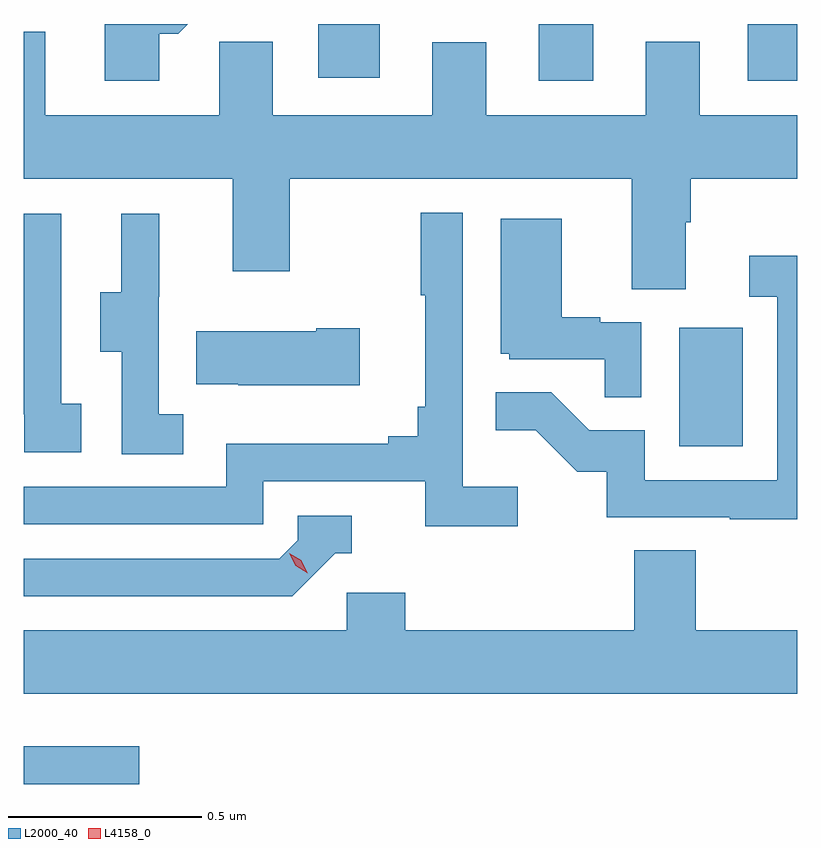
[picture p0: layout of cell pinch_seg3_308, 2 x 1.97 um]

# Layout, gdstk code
import gdstk
lib = gdstk.Library(unit=1e-6, precision=1e-09)
def R(c, l, rs):  # rectangles x0, y0, x1, y1
    for r in rs: c.add(gdstk.rectangle(r[:2], r[2:], *l))
def P(c, l, *ps):  # polygons
    for p in ps: c.add(gdstk.Polygon(p, *l))
L2000_40 = (2000, 40)
L4158_0 = (4158, 0)

pinch_seg3_308 = lib.new_cell('pinch_seg3_308')
R(pinch_seg3_308, L2000_40, [(953.987,711.339,954.286,711.436), (955.682,712.212,955.846,712.519), (955.319,713.157,955.459,713.304), (955.859,713.157,955.987,713.304), (954.749,713.165,954.907,713.304)])
P(pinch_seg3_308, L2000_40, [(954.337,713.279),(954.386,713.279),(954.411,713.304),(954.197,713.304),(954.197,713.157),(954.337,713.157)],
  [(955.699,712.792),(955.712,712.792),(955.712,712.904),(955.987,712.904),(955.987,713.068),(955.735,713.068),(955.735,713.258),(955.595,713.258),(955.595,713.068),(955.183,713.068),(955.183,713.257),(955.043,713.257),(955.043,713.068),(954.631,713.068),(954.631,713.258),(954.492,713.258),(954.492,713.068),(954.043,713.068),(954.043,713.284),(953.987,713.284),(953.987,712.904),(954.527,712.904),(954.527,712.665),(954.675,712.665),(954.675,712.904),(955.559,712.904),(955.559,712.618),(955.699,712.618)],
  [(955.264,712.108),(955.122,712.108),(955.122,712.816),(955.014,712.816),(955.014,712.603),(955.025,712.603),(955.025,712.315),(955.006,712.315),(955.006,712.238),(954.929,712.238),(954.929,712.219),(954.51,712.219),(954.51,712.107),(953.987,712.107),(953.987,712.011),(954.606,712.011),(954.606,712.122),(955.025,712.122),(955.025,712.006),(955.264,712.006)],
  [(954.4,712.295),(954.336,712.295),(954.336,712.599),(954.338,712.599),(954.338,712.813),(954.239,712.813),(954.239,712.611),(954.185,712.611),(954.185,712.456),(954.24,712.456),(954.24,712.192),(954.4,712.192)],
  [(954.136,712.322),(954.084,712.322),(954.084,712.813),(953.987,712.813),(953.987,712.295),(953.988,712.295),(953.988,712.197),(954.136,712.197)],
  [(955.584,712.533),(955.478,712.533),(955.478,712.546),(955.378,712.546),(955.378,712.801),(955.22,712.801),(955.22,712.452),(955.242,712.452),(955.242,712.437),(955.489,712.437),(955.489,712.339),(955.584,712.339)],
  [(955.987,712.705),(955.863,712.705),(955.863,712.599),(955.935,712.599),(955.935,712.125),(955.593,712.125),(955.593,712.254),(955.449,712.254),(955.351,712.352),(955.207,712.352),(955.207,712.253),(955.311,712.253),(955.418,712.146),(955.495,712.146),(955.495,712.029),(955.813,712.029),(955.813,712.024),(955.987,712.024)],
  [(954.856,712.518),(954.743,712.518),(954.743,712.51),(954.433,712.51),(954.433,712.373),(954.541,712.373),(954.541,712.37),(954.856,712.37)],
  [(954.792,711.936),(954.835,711.936),(954.835,712.032),(954.696,712.032),(954.696,711.969),(954.648,711.921),(953.987,711.921),(953.987,711.825),(954.681,711.825)],
  [(955.987,711.736),(955.725,711.736),(955.725,711.944),(955.565,711.944),(955.565,711.736),(954.974,711.736),(954.974,711.834),(954.822,711.834),(954.822,711.736),(953.987,711.736),(953.987,711.572),(955.987,711.572)])
P(pinch_seg3_308, L4158_0, [(954.721,711.884),(954.69,711.903),(954.673,711.936),(954.673,711.936),(954.673,711.936),(954.704,711.917),(954.721,711.884),(954.721,711.884)])

lib.write_gds('pinch_seg3_308.gds')
